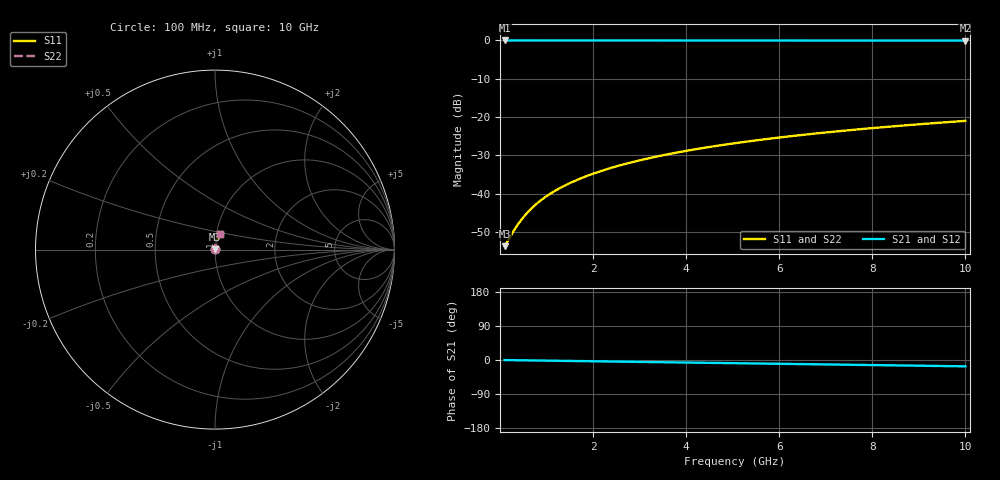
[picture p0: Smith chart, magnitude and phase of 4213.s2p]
# Hz S RI R 50.00
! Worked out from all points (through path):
!   100 points, 100 MHz to 10 GHz, reference 50 ohm
!   highest |S21| = -0.02 dB at 100 MHz (marker M1); lowest = -0.1 dB at 10 GHz (marker M2)
!   group delay of S21, straight-line fit = 4.64 ps
!   lowest |S11| = -53.8 dB at 100 MHz (marker M3), VSWR 1.00, Z = 50.2 + j0.09 ohm
!   |S11| at or under -10 dB: start of sweep to end of sweep
!   |S22| runs from -53.8 to -21.0 dB; largest |S21 - S12| = 0
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1e8  0.00185 0.000897  0.9981 -0.00291  0.9981 -0.00291  0.00185 0.000897
3e8  0.00189 0.00269  0.9981 -0.00872  0.9981 -0.00872  0.00189 0.00269
4e8  0.00191 0.00359  0.998 -0.0116  0.998 -0.0116  0.00191 0.00359
5e8  0.00194 0.00448  0.998 -0.0145  0.998 -0.0145  0.00194 0.00448
6e8  0.00197 0.00538  0.9979 -0.0174  0.9979 -0.0174  0.00197 0.00538
7e8  0.00201 0.00628  0.9979 -0.0204  0.9979 -0.0204  0.00201 0.00628
8e8  0.00205 0.00717  0.9978 -0.0233  0.9978 -0.0233  0.00205 0.00717
1e9  0.00216 0.00896  0.9976 -0.0291  0.9976 -0.0291  0.00216 0.00896
1.2e9  0.00228 0.0108  0.9974 -0.0349  0.9974 -0.0349  0.00228 0.0108
1.5e9  0.0025 0.0134  0.997 -0.0436  0.997 -0.0436  0.0025 0.0134
1.8e9  0.00276 0.0161  0.9965 -0.0523  0.9965 -0.0523  0.00276 0.0161
2.1e9  0.00307 0.0188  0.996 -0.061  0.996 -0.061  0.00307 0.0188
2.5e9  0.00356 0.0223  0.9951 -0.0726  0.9951 -0.0726  0.00356 0.0223
2.9e9  0.00413 0.0259  0.9941 -0.0842  0.9941 -0.0842  0.00413 0.0259
3.4e9  0.00495 0.0303  0.9926 -0.0987  0.9926 -0.0987  0.00495 0.0303
4.2e9  0.00654 0.0373  0.9898 -0.1218  0.9898 -0.1218  0.00654 0.0373
5.1e9  0.00871 0.045  0.9859 -0.1476  0.9859 -0.1476  0.00871 0.045
5.9e9  0.011 0.0518  0.9818 -0.1705  0.9818 -0.1705  0.011 0.0518
6.7e9  0.0136 0.0585  0.9772 -0.1933  0.9772 -0.1933  0.0136 0.0585
7.5e9  0.0165 0.065  0.9719 -0.216  0.9719 -0.216  0.0165 0.065
8.4e9  0.0201 0.0722  0.9654 -0.2413  0.9654 -0.2413  0.0201 0.0722
1e10  0.0274 0.0845  0.9519 -0.2857  0.9519 -0.2857  0.0274 0.0845
